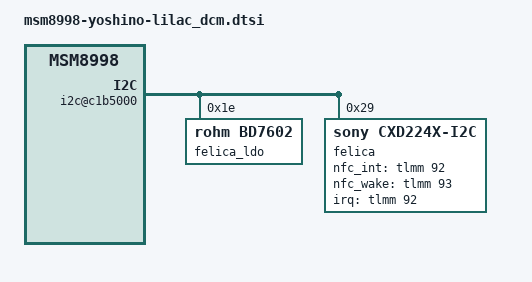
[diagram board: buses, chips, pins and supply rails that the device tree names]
/*
 * Copyright (C) 2017 Sony Mobile Communications Inc.
 *
 * This program is free software; you can redistribute it and/or modify
 * it under the terms of the GNU General Public License version 2, as
 * published by the Free Software Foundation.
 */

#include "msm8998-yoshino-lilac_common.dtsi"

&soc {
	/* I2C: BLSP7 */
	i2c@c1b5000 { /* BLSP2 QUP1 */
		felica_ldo@1e {
			compatible = "rohm,bd7602";
			reg = <0x1e>;
		};
		felica@29 {
			compatible = "sony,cxd224x-i2c";
			reg = <0x29>;
			interrupt-parent = <&tlmm>;
			interrupts = <92 0x2002>;
			sony,nfc_int = <&tlmm 92 0>;
			sony,nfc_wake = <&tlmm 93 0>;

			pinctrl-names = "felica_active","felica_suspend";
			pinctrl-0 = <&msm_gpio_92>;
			pinctrl-1 = <&msm_gpio_92>;

			/* Defined in Clock Distribution */
			clocks = <&clock_gcc clk_ln_bb_clk3_pin>;
			clock-names = "felica_clk";
		};
	};

	felica,pm-ops {
		compatible = "sony,cxd224x-pm-ops";
	};

	somc_pinctrl: somc_pinctrl {
		pinctrl-2 = <&msm_gpio_92>;
	};
};

&tlmm {
	/* GPIO_92 : NFC_IRQ_FELICA_INT_N */
	msm_gpio_92: msm_gpio_92 {
		mux {
			pins = "gpio92";
			function = "gpio";
		};

		config {
			pins = "gpio92";
			drive-strength = <2>;
			/delete-property/ bias-pull-down;
			bias-disable;
			input-enable;
		};
	};
};
